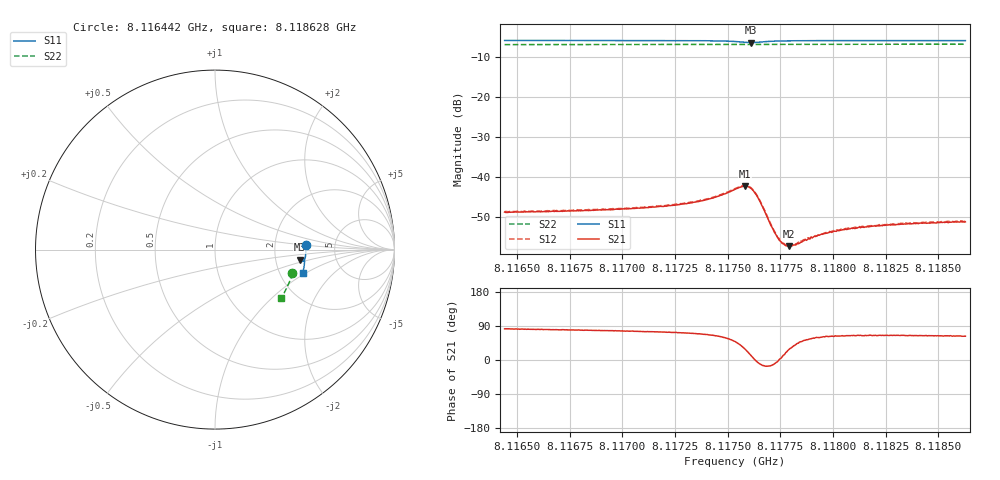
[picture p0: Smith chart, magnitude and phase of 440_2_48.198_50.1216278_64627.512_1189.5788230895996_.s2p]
#  HZ  S  RI  R  50.00
! Rohde & Schwarz Vector Network Analyzer
! Rohde-Schwarz,ZNB20-2Port,1311601062101988,3.16
! Created: UTC 3/20/2024, 11:55:48 AM
! freq[Hz]  re:S11  im:S11  re:S21  im:S21  re:S12  im:S12  re:S22  im:S22
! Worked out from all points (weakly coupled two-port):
!   401 points, 8.116442 GHz to 8.118628 GHz, reference 50 ohm
!   highest |S21| = -42.37 dB at 8.117584 GHz (marker M1); lowest = -57.4 dB at 8.117792 GHz (marker M2)
!   lowest |S11| = -6.4 dB at 8.117612 GHz (marker M3), VSWR 2.83, Z = 138 - j19.8 ohm
!   |S11| at or under -10 dB: nowhere
!   |S22| runs from -6.9 to -6.8 dB; largest |S21 - S12| = 0.0002
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8.1164417e9  0.5066 0.026  0.000482 0.00357  0.00052 0.00361  0.4305 -0.1311
8.116808e9  0.5067 -0.00202  0.000742 0.00369  0.000786 0.00374  0.4233 -0.1556
8.1171743e9  0.5048 -0.0312  0.00117 0.00406  0.00123 0.00413  0.4147 -0.1797
8.1172945e9  0.5033 -0.0415  0.00145 0.00433  0.00151 0.0044  0.4116 -0.1874
8.117382e9  0.5011 -0.0497  0.00188 0.00464  0.00195 0.00473  0.4091 -0.1931
8.1174476e9  0.4981 -0.0567  0.00248 0.00502  0.00261 0.00511  0.4071 -0.1975
8.1175351e9  0.4882 -0.0655  0.00457 0.00523  0.00474 0.00528  0.4042 -0.2032
8.1175843e9  0.477 -0.0631  0.00672 0.00357  0.00688 0.00361  0.4024 -0.2059
8.1176116e9  0.4741 -0.0553  0.00697 0.00141  0.00713 0.00138  0.4017 -0.2071
8.117628e9  0.4759 -0.0505  0.00635 0.000151  0.00653 0.000131  0.4014 -0.2078
8.1176499e9  0.481 -0.0467  0.00505 -0.000825  0.00515 -0.00087  0.401 -0.209
8.11771e9  0.4934 -0.0505  0.00228 -0.000561  0.00232 -0.000577  0.3997 -0.2129
8.1177428e9  0.4964 -0.0547  0.00163 -1.39e-05  0.00171 1.04e-05  0.3989 -0.2151
8.1177701e9  0.4979 -0.0583  0.00136 0.000347  0.0014 0.000371  0.3981 -0.2168
8.117792e9  0.4985 -0.061  0.00119 0.000636  0.00125 0.000643  0.3976 -0.2184
8.1178303e9  0.4991 -0.0654  0.00105 0.001  0.00109 0.000983  0.3963 -0.2206
8.1179014e9  0.4992 -0.0725  0.000931 0.00144  0.000941 0.00149  0.394 -0.2255
8.1179943e9  0.4983 -0.0809  0.000917 0.00178  0.000945 0.00185  0.3909 -0.2311
8.1180654e9  0.4977 -0.0869  0.000941 0.00196  0.00104 0.00199  0.3885 -0.2357
8.1182676e9  0.4947 -0.1031  0.00107 0.00228  0.00108 0.00229  0.3815 -0.2481
8.1184918e9  0.4909 -0.1199  0.00117 0.00237  0.00119 0.00245  0.3731 -0.2614
8.1186284e9  0.488 -0.13  0.00124 0.00242  0.00126 0.00245  0.368 -0.2693
